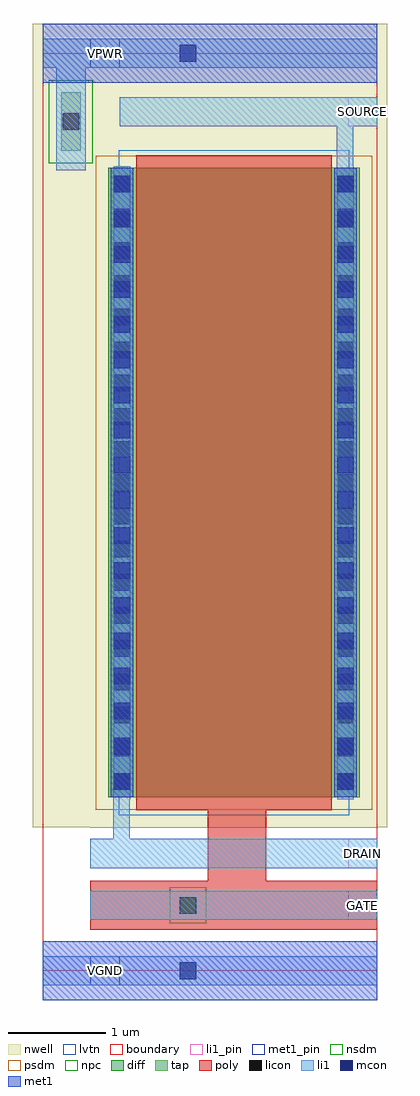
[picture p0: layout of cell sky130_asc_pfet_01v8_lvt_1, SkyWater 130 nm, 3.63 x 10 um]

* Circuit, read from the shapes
.subckt sky130_asc_pfet_01v8_lvt_1 DRAIN GATE SOURCE VGND VPWR
XM1 SOURCE GATE DRAIN VPWR sky130_fd_pr__pfet_01v8_lvt w=6.45 l=2
.ends

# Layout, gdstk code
import gdstk
lib = gdstk.Library(unit=1e-6, precision=1e-09)
def R(c, l, rs):  # rectangles x0, y0, x1, y1
    for r in rs: c.add(gdstk.rectangle(r[:2], r[2:], *l))
def A(c, l, x, y, w, h, nx, ny, dx, dy):  # array of equal rectangles
    R(c, l, [(x+i*dx, y+j*dy, x+i*dx+w, y+j*dy+h) for i in range(nx) for j in range(ny)])
nwell = (64, 20)
diff = (65, 20)
tap = (65, 44)
poly = (66, 20)
licon = (66, 44)
li1_pin = (67, 16)
li1 = (67, 20)
mcon = (67, 44)
met1_pin = (68, 16)
met1 = (68, 20)
nsdm = (93, 44)
psdm = (94, 20)
npc = (95, 20)
lvtn = (125, 44)
boundary = (235, 4)

sky130_asc_pfet_01v8_lvt = lib.new_cell('sky130_asc_pfet_01v8_lvt_1')
R(sky130_asc_pfet_01v8_lvt, nwell, [(0.49,1.465,3.43,1.47), (-0.1,1.47,3.53,9.7)])
R(sky130_asc_pfet_01v8_lvt, diff, [(0.67,1.775,3.25,8.225)])
R(sky130_asc_pfet_01v8_lvt, tap, [(0.19,8.4,0.39,9)])
R(sky130_asc_pfet_01v8_lvt, poly, [(0.49,0.42,3.43,0.92), (1.69,0.92,2.29,1.645), (0.96,1.645,2.96,8.355)])
A(sky130_asc_pfet_01v8_lvt, licon, 0.73, 1.855, 0.17, 0.17, 1, 19, 0, 0.34)
A(sky130_asc_pfet_01v8_lvt, licon, 3.02, 1.855, 0.17, 0.17, 1, 19, 0, 0.34)
R(sky130_asc_pfet_01v8_lvt, licon, [(1.405,0.585,1.575,0.755), (0.205,8.615,0.375,8.785)])
R(sky130_asc_pfet_01v8_lvt, li1_pin, [(3.13,0.52,3.43,0.82), (3.13,1.05,3.43,1.35), (3.13,8.65,3.43,8.95)])
R(sky130_asc_pfet_01v8_lvt, li1, [(0,-0.15,3.43,0.15), (0.49,0.52,3.43,0.82), (0.49,1.05,3.43,1.35), (0.725,1.35,0.895,1.755), (0.725,1.755,0.9,1.87), (3.02,1.755,3.19,8.13), (0.73,1.87,0.9,8.245), (3.015,8.13,3.19,8.245), (0.14,8.2,0.44,9.25), (3.015,8.245,3.185,8.65), (0.79,8.65,3.43,8.95), (0,9.25,3.43,9.55)])
A(sky130_asc_pfet_01v8_lvt, mcon, 0.73, 1.855, 0.17, 0.17, 1, 18, 0, 0.36)
A(sky130_asc_pfet_01v8_lvt, mcon, 3.02, 1.855, 0.17, 0.17, 1, 18, 0, 0.36)
R(sky130_asc_pfet_01v8_lvt, mcon, [(1.405,-0.085,1.575,0.085), (1.405,9.315,1.575,9.485)])
R(sky130_asc_pfet_01v8_lvt, met1_pin, [(0.49,-0.15,0.79,0.15), (0.49,9.25,0.79,9.55)])
R(sky130_asc_pfet_01v8_lvt, met1, [(0,-0.3,3.43,0.3), (0.7,1.775,0.93,8.225), (2.99,1.775,3.22,8.225), (0,9.1,3.43,9.7)])
R(sky130_asc_pfet_01v8_lvt, nsdm, [(0.065,8.275,0.515,9.125)])
R(sky130_asc_pfet_01v8_lvt, psdm, [(0.545,1.65,3.375,8.35)])
R(sky130_asc_pfet_01v8_lvt, npc, [(1.305,0.485,1.675,0.855)])
R(sky130_asc_pfet_01v8_lvt, lvtn, [(0.78,1.595,3.14,8.405)])
R(sky130_asc_pfet_01v8_lvt, boundary, [(0,0,3.43,9.4)])
sky130_asc_pfet_01v8_lvt.add(gdstk.Label('GATE', (3.28,0.67), layer=67, texttype=16))
sky130_asc_pfet_01v8_lvt.add(gdstk.Label('SOURCE', (3.28,8.8), layer=67, texttype=16))
sky130_asc_pfet_01v8_lvt.add(gdstk.Label('DRAIN', (3.28,1.2), layer=67, texttype=16))
sky130_asc_pfet_01v8_lvt.add(gdstk.Label('VPWR', (0.64,9.4), layer=68, texttype=16))
sky130_asc_pfet_01v8_lvt.add(gdstk.Label('VGND', (0.64,0), layer=68, texttype=16))

lib.write_gds('sky130_asc_pfet_01v8_lvt_1.gds')
